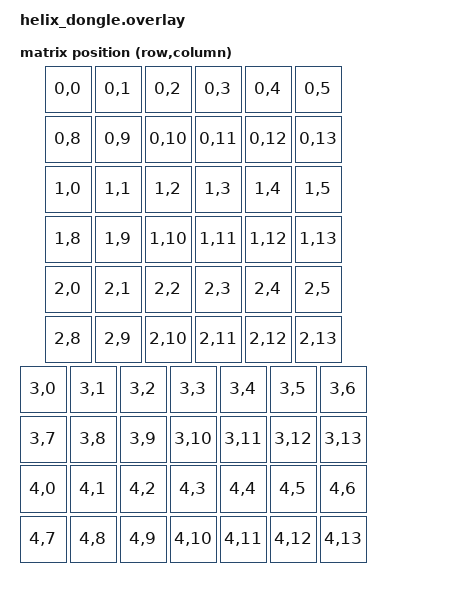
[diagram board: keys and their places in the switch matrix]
/*
 * helix_dongle.overlay
 *
 * Overlay for the Prospector dongle acting as the ZMK split central for the
 * FelixKeeb (Helix-compatible) keyboard.
 *
 * The dongle itself has no physical keys, so we use a mock kscan.
 * The matrix transform matches the upstream ZMK helix.dtsi exactly:
 *
 *   Rows 0–2: 12 keys (6 left: cols 0–5 | 6 right: cols 8–13)
 *   Rows 3–4: 14 keys (7 left: cols 0–6 | 7 right: cols 7–13)
 *   Total: 64 keys
 */

#include <dt-bindings/zmk/matrix-transform.h>

/ {
    chosen {
        zmk,kscan = &mock_kscan;
        zmk,matrix-transform = &helix_transform;
    };

    /*
     * Mock key scanner — the dongle has no switches; all key events arrive
     * from the peripheral halves over BLE split.
     */
    mock_kscan: mock_kscan {
        compatible = "zmk,kscan-mock";
        columns = <0>;
        rows = <0>;
        events = <0>;
    };

    /*
     * Helix matrix transform (64 positions, same as the helix shields in ZMK).
     * This MUST match the transform used by helix_left / helix_right so that
     * key-position numbers in the keymap are consistent.
     */
    helix_transform: keymap_transform_0 {
        compatible = "zmk,matrix-transform";
        columns = <14>;
        rows = <5>;
        map = <
            /* Row 0 — 12 keys (inner centre columns absent) */
            RC(0,0)  RC(0,1)  RC(0,2)  RC(0,3)  RC(0,4)  RC(0,5)
                                                                    RC(0,8)  RC(0,9)  RC(0,10) RC(0,11) RC(0,12) RC(0,13)
            /* Row 1 — 12 keys */
            RC(1,0)  RC(1,1)  RC(1,2)  RC(1,3)  RC(1,4)  RC(1,5)
                                                                    RC(1,8)  RC(1,9)  RC(1,10) RC(1,11) RC(1,12) RC(1,13)
            /* Row 2 — 12 keys */
            RC(2,0)  RC(2,1)  RC(2,2)  RC(2,3)  RC(2,4)  RC(2,5)
                                                                    RC(2,8)  RC(2,9)  RC(2,10) RC(2,11) RC(2,12) RC(2,13)
            /* Row 3 — 14 keys (inner centre keys ESC and \ are cols 6 and 7) */
            RC(3,0)  RC(3,1)  RC(3,2)  RC(3,3)  RC(3,4)  RC(3,5)  RC(3,6)
                                                                    RC(3,7)  RC(3,8)  RC(3,9)  RC(3,10) RC(3,11) RC(3,12) RC(3,13)
            /* Row 4 — 14 keys (inner centre keys ENT and / are cols 6 and 7) */
            RC(4,0)  RC(4,1)  RC(4,2)  RC(4,3)  RC(4,4)  RC(4,5)  RC(4,6)
                                                                    RC(4,7)  RC(4,8)  RC(4,9)  RC(4,10) RC(4,11) RC(4,12) RC(4,13)
        >;
    };
};
